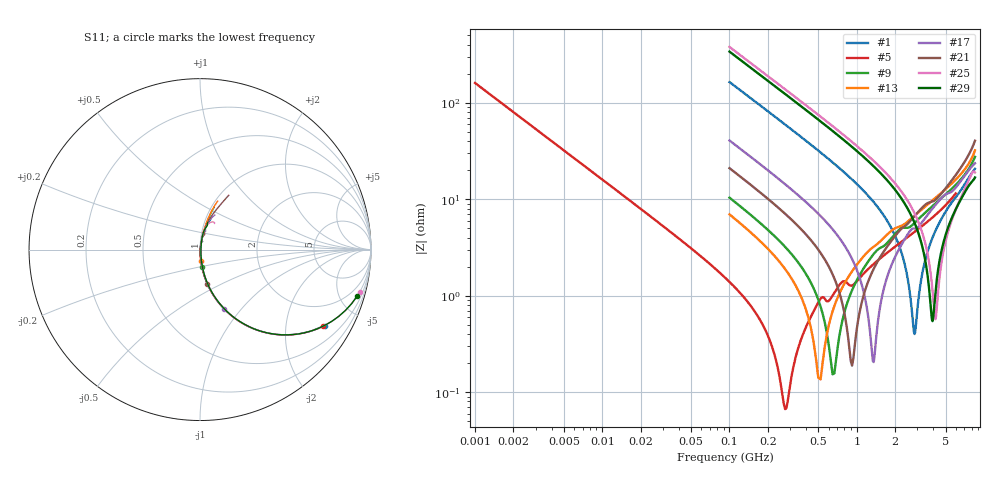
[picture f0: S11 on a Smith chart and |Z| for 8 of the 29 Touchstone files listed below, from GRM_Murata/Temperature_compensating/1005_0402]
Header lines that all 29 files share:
!These Parameters are Measured in Series Mode Connection
!Data Generated on Mar 30, 2021
!  o--ll--o
!Port1  Port2
!  o------o
!Operation Temp=25[degC], DC Bias Voltage=0[V]
# Hz S RI R 50
!Freq.(Hz) S11(Real) S11(Imag) S21(Real) S21(Imag) S12(Real) S12(Imag) S22(Real) S22(Imag)
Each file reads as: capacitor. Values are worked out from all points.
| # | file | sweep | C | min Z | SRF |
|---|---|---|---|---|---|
| 1 | GRM1552C1H9R7DA01.s2p | 100 MHz to 8.5 GHz | 9.7 pF | 400 mohm | 2.85 GHz |
| 2 | GRM1552C1H9R8BA01.s2p | 100 MHz to 8.5 GHz | 9.8 pF | 390 mohm | 2.822 GHz |
| 3 | GRM1552C1H9R9CA01.s2p | 100 MHz to 8.5 GHz | 9.9 pF | 387 mohm | 2.808 GHz |
| 4 | GRM1552C1H100GA01.s2p | 100 MHz to 8.5 GHz | 10 pF | 421 mohm | 2.649 GHz |
| 5 | GRM1552C1H102JA01.s2p | 1 MHz to 6 GHz | 993 pF | 66.7 mohm | 276.4 MHz |
| 6 | GRM1552C1H120JA01.s2p | 100 MHz to 8.5 GHz | 12 pF | 367 mohm | 2.532 GHz |
| 7 | GRM1552C1H121GA01.s2p | 100 MHz to 8.5 GHz | 120 pF | 176 mohm | 742.4 MHz |
| 8 | GRM1552C1H150JA01.s2p | 100 MHz to 8.5 GHz | 15 pF | 347 mohm | 2.101 GHz |
| 9 | GRM1552C1H151JA01.s2p | 100 MHz to 8.5 GHz | 150 pF | 153 mohm | 656.3 MHz |
| 10 | GRM1552C1H180JA01.s2p | 100 MHz to 8.5 GHz | 18 pF | 326 mohm | 1.937 GHz |
| 11 | GRM1552C1H200JA01.s2p | 100 MHz to 8.5 GHz | 20 pF | 306 mohm | 1.854 GHz |
| 12 | GRM1552C1H220JA01.s2p | 100 MHz to 8.5 GHz | 22 pF | 302 mohm | 1.749 GHz |
| 13 | GRM1552C1H221GA01.s2p | 100 MHz to 8.5 GHz | 220 pF | 136 mohm | 511 MHz |
| 14 | GRM1552C1H240JA01.s2p | 100 MHz to 8.5 GHz | 24 pF | 286 mohm | 1.694 GHz |
| 15 | GRM1552C1H270GA01.s2p | 100 MHz to 8.5 GHz | 27 pF | 257 mohm | 1.6 GHz |
| 16 | GRM1552C1H330GA01.s2p | 100 MHz to 8.5 GHz | 33 pF | 238 mohm | 1.454 GHz |
| 17 | GRM1552C1H390JA01.s2p | 100 MHz to 8.5 GHz | 39 pF | 205 mohm | 1.353 GHz |
| 18 | GRM1552C1H470JA01.s2p | 100 MHz to 8.5 GHz | 47 pF | 188 mohm | 1.252 GHz |
| 19 | GRM1552C1H560GA01.s2p | 100 MHz to 8.5 GHz | 56 pF | 193 mohm | 1.135 GHz |
| 20 | GRM1552C1H561GA01.s2p | 100 MHz to 8.5 GHz | 559 pF | 74.3 mohm | 351.5 MHz |
| 21 | GRM1552C1H750JA01.s2p | 100 MHz to 8.5 GHz | 75 pF | 188 mohm | 917.4 MHz |
| 22 | GRM1552C1H820GA01.s2p | 100 MHz to 8.5 GHz | 82 pF | 185 mohm | 904.8 MHz |
| 23 | GRM1552C2A4R0CA01.s2p | 100 MHz to 8.5 GHz | 4 pF | 579 mohm | 4.265 GHz |
| 24 | GRM1552C2A4R1CA01.s2p | 100 MHz to 8.5 GHz | 4.1 pF | 574 mohm | 4.201 GHz |
| 25 | GRM1552C2A4R2BA01.s2p | 100 MHz to 8.5 GHz | 4.2 pF | 570 mohm | 4.152 GHz |
| 26 | GRM1552C2A4R3CA01.s2p | 100 MHz to 8.5 GHz | 4.3 pF | 567 mohm | 4.105 GHz |
| 27 | GRM1552C2A4R4WA01.s2p | 100 MHz to 8.5 GHz | 4.4 pF | 575 mohm | 4.044 GHz |
| 28 | GRM1552C2A4R6CA01.s2p | 100 MHz to 8.5 GHz | 4.6 pF | 554 mohm | 3.963 GHz |
| 29 | GRM1552C2A4R7BA01.s2p | 100 MHz to 8.5 GHz | 4.7 pF | 544 mohm | 3.939 GHz |
